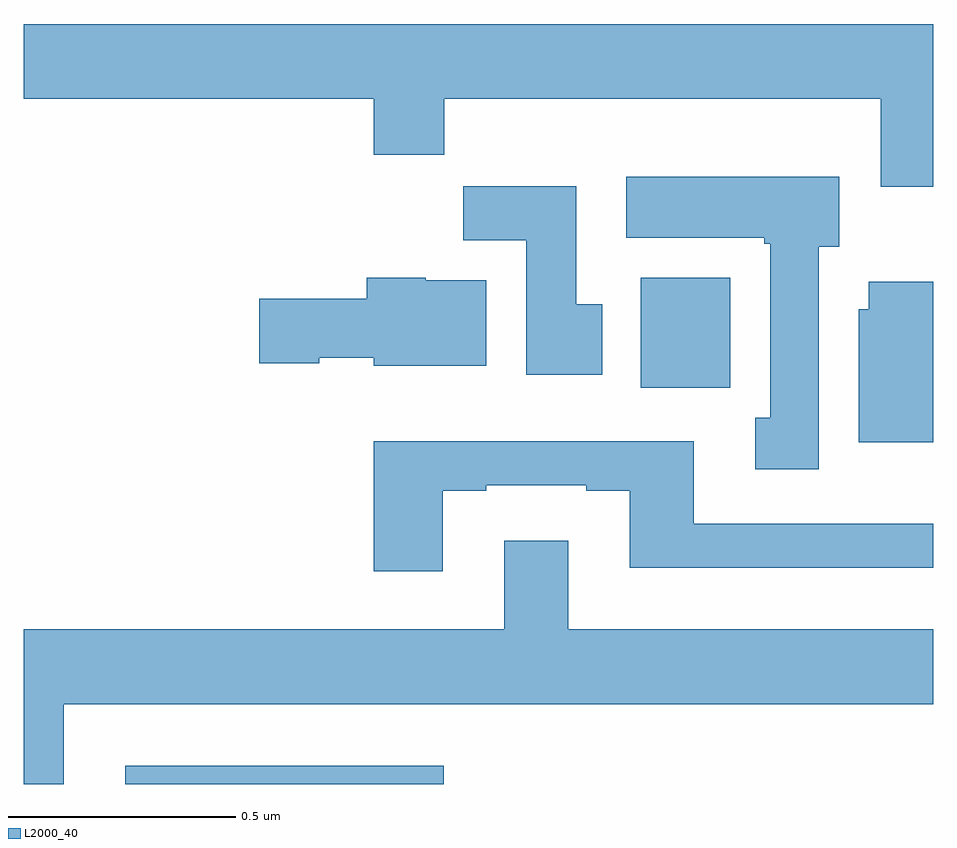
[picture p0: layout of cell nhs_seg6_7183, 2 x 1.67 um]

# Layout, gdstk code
import gdstk
lib = gdstk.Library(unit=1e-6, precision=1e-09)
def R(c, l, rs):  # rectangles x0, y0, x1, y1
    for r in rs: c.add(gdstk.rectangle(r[:2], r[2:], *l))
def P(c, l, *ps):  # polygons
    for p in ps: c.add(gdstk.Polygon(p, *l))
L2000_40 = (2000, 40)

nhs_seg6_7183 = lib.new_cell('nhs_seg6_7183')
R(nhs_seg6_7183, L2000_40, [(205.223,940.5,205.924,940.54), (206.357,941.372,206.554,941.614)])
P(nhs_seg6_7183, L2000_40, [(207,942.172),(205,942.172),(205,942.008),(205.769,942.008),(205.769,941.884),(205.925,941.884),(205.925,942.008),(206.885,942.008),(206.885,941.814),(207,941.814)],
  [(206.749,941.682),(206.794,941.682),(206.794,941.836),(206.325,941.836),(206.325,941.702),(206.629,941.702),(206.629,941.689),(206.642,941.689),(206.642,941.306),(206.609,941.306),(206.609,941.193),(206.749,941.193)],
  [(206.272,941.556),(206.215,941.556),(206.215,941.815),(205.966,941.815),(205.966,941.696),(206.105,941.696),(206.105,941.4),(206.272,941.4)],
  [(206.017,941.608),(205.884,941.608),(205.884,941.614),(205.754,941.614),(205.754,941.568),(205.518,941.568),(205.518,941.426),(205.65,941.426),(205.65,941.438),(205.77,941.438),(205.77,941.42),(206.017,941.42)],
  [(207,941.605),(206.858,941.605),(206.858,941.544),(206.837,941.544),(206.837,941.252),(207,941.252)],
  [(205.921,941.145),(206.017,941.145),(206.017,941.157),(206.237,941.157),(206.237,941.145),(206.333,941.145),(206.333,940.976),(207,940.976),(207,941.073),(206.473,941.073),(206.473,941.254),(205.769,941.254),(205.769,940.968),(205.921,940.968)],
  [(205.087,940.676),(207,940.676),(207,940.84),(206.197,940.84),(206.197,941.035),(206.057,941.035),(206.057,940.84),(205,940.84),(205,940.5),(205.087,940.5)])

lib.write_gds('nhs_seg6_7183.gds')
